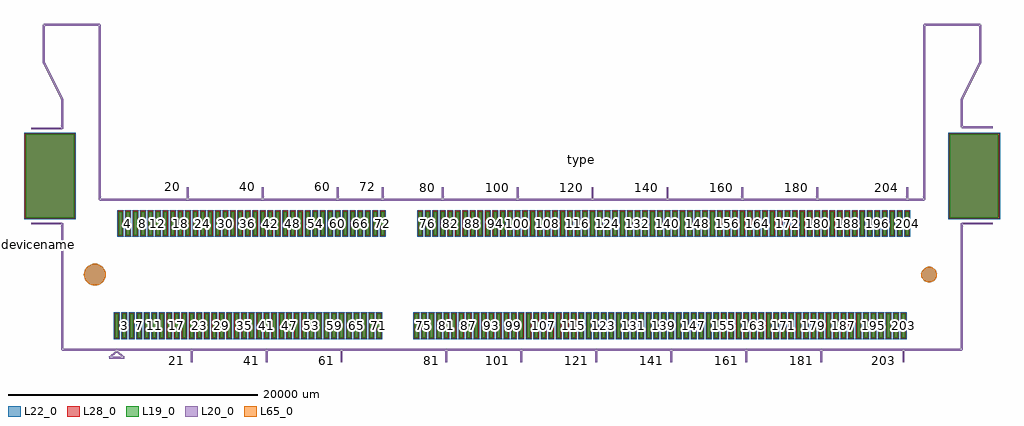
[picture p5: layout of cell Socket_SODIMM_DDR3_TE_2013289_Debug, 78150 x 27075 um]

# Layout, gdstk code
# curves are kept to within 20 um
import gdstk
lib = gdstk.Library(unit=1e-6, precision=1e-09)
def R(c, l, rs):  # rectangles x0, y0, x1, y1
    for r in rs: c.add(gdstk.rectangle(r[:2], r[2:], *l))
def A(c, l, x, y, w, h, nx, ny, dx, dy):  # array of equal rectangles
    R(c, l, [(x+i*dx, y+j*dy, x+i*dx+w, y+j*dy+h) for i in range(nx) for j in range(ny)])
def P(c, l, *ps):  # polygons
    for p in ps: c.add(gdstk.Polygon(p, *l))
L19_0 = (19, 0)
L20_0 = (20, 0)
L22_0 = (22, 0)
L28_0 = (28, 0)
L65_0 = (65, 0)

socket_sodimm_ddr3_te_20 = lib.new_cell('Socket_SODIMM_DDR3_TE_2013289_Debug')
A(socket_sodimm_ddr3_te_20, L19_0, -31775, -5050, 250, 1900, 36, 1, 600, 0)
A(socket_sodimm_ddr3_te_20, L19_0, -7775, -5050, 250, 1900, 66, 1, 600, 0)
A(socket_sodimm_ddr3_te_20, L19_0, -31475, 3150, 250, 1900, 36, 1, 600, 0)
A(socket_sodimm_ddr3_te_20, L19_0, -7475, 3150, 250, 1900, 66, 1, 600, 0)
R(socket_sodimm_ddr3_te_20, L19_0, [(-38950,4550,-35050,11250), (35050,4550,38950,11250)])
A(socket_sodimm_ddr3_te_20, L22_0, -31900, -5175, 500, 2150, 36, 1, 600, 0)
A(socket_sodimm_ddr3_te_20, L22_0, -7900, -5175, 500, 2150, 66, 1, 600, 0)
A(socket_sodimm_ddr3_te_20, L22_0, -31600, 3025, 500, 2150, 36, 1, 600, 0)
A(socket_sodimm_ddr3_te_20, L22_0, -7600, 3025, 500, 2150, 66, 1, 600, 0)
R(socket_sodimm_ddr3_te_20, L22_0, [(-39075,4425,-34925,11375), (34925,4425,39075,11375)])
P(socket_sodimm_ddr3_te_20, L22_0, [(34025,0),(33977.425,239.177),(33841.942,441.942),(33639.177,577.425),(33400,625),(33160.823,577.425),(32958.058,441.942),(32822.575,239.177),(32775,0),(32822.575,-239.177),(32958.058,-441.942),(33160.823,-577.425),(33400,-625),(33639.177,-577.425),(33841.942,-441.942),(33977.425,-239.177)],
  [(-32525,0),(-32591.605,334.848),(-32781.282,618.718),(-33065.152,808.395),(-33400,875),(-33734.848,808.395),(-34018.718,618.718),(-34208.395,334.848),(-34275,0),(-34208.395,-334.848),(-34018.718,-618.718),(-33734.848,-808.395),(-33400,-875),(-33065.152,-808.395),(-32781.282,-618.718),(-32591.605,-334.848)])
A(socket_sodimm_ddr3_te_20, L28_0, -31825, -5100, 350, 2000, 36, 1, 600, 0)
A(socket_sodimm_ddr3_te_20, L28_0, -7825, -5100, 350, 2000, 66, 1, 600, 0)
A(socket_sodimm_ddr3_te_20, L28_0, -31525, 3100, 350, 2000, 36, 1, 600, 0)
A(socket_sodimm_ddr3_te_20, L28_0, -7525, 3100, 350, 2000, 66, 1, 600, 0)
R(socket_sodimm_ddr3_te_20, L28_0, [(-39000,4500,-35000,11300), (35000,4500,39000,11300)])
P(socket_sodimm_ddr3_te_20, L65_0, [(34025,0),(33977.425,239.177),(33841.942,441.942),(33639.177,577.425),(33400,625),(33160.823,577.425),(32958.058,441.942),(32822.575,239.177),(32775,0),(32822.575,-239.177),(32958.058,-441.942),(33160.823,-577.425),(33400,-625),(33639.177,-577.425),(33841.942,-441.942),(33977.425,-239.177)],
  [(-32525,0),(-32591.605,334.848),(-32781.282,618.718),(-33065.152,808.395),(-33400,875),(-33734.848,808.395),(-34018.718,618.718),(-34208.395,334.848),(-34275,0),(-34208.395,-334.848),(-34018.718,-618.718),(-33734.848,-808.395),(-33400,-875),(-33065.152,-808.395),(-32781.282,-618.718),(-32591.605,-334.848)])
socket_sodimm_ddr3_te_20.add(gdstk.FlexPath([(-33000,20000),(-37500,20000)], 149.998, ends="flush", simple_path=True, layer=20, datatype=0))  # L20_0
socket_sodimm_ddr3_te_20.add(gdstk.FlexPath([(-33000,6000),(-33000,20000)], 149.998, ends="flush", simple_path=True, layer=20, datatype=0))  # L20_0
socket_sodimm_ddr3_te_20.add(gdstk.FlexPath([(0,6000),(-33000,6000)], 149.998, ends="flush", simple_path=True, layer=20, datatype=0))  # L20_0
socket_sodimm_ddr3_te_20.add(gdstk.FlexPath([(33000,6000),(0,6000)], 149.998, ends="flush", simple_path=True, layer=20, datatype=0))  # L20_0
socket_sodimm_ddr3_te_20.add(gdstk.FlexPath([(33000,20000),(33000,6000)], 149.998, ends="flush", simple_path=True, layer=20, datatype=0))  # L20_0
socket_sodimm_ddr3_te_20.add(gdstk.FlexPath([(37500,20000),(33000,20000)], 149.998, ends="flush", simple_path=True, layer=20, datatype=0))  # L20_0
socket_sodimm_ddr3_te_20.add(gdstk.FlexPath([(37500,17000),(37500,20000)], 149.998, ends="flush", simple_path=True, layer=20, datatype=0))  # L20_0
socket_sodimm_ddr3_te_20.add(gdstk.FlexPath([(36000,14000),(37500,17000)], 149.998, ends="flush", simple_path=True, layer=20, datatype=0))  # L20_0
socket_sodimm_ddr3_te_20.add(gdstk.FlexPath([(-36000,-6000),(36000,-6000)], 149.998, ends="flush", simple_path=True, layer=20, datatype=0))  # L20_0
socket_sodimm_ddr3_te_20.add(gdstk.FlexPath([(-37500,17000),(-36000,14000)], 149.998, ends="flush", simple_path=True, layer=20, datatype=0))  # L20_0
socket_sodimm_ddr3_te_20.add(gdstk.FlexPath([(-37500,20000),(-37500,17000)], 149.998, ends="flush", simple_path=True, layer=20, datatype=0))  # L20_0
socket_sodimm_ddr3_te_20.add(gdstk.FlexPath([(-32250,-6650),(-31650,-6150)], 149.998, ends="flush", simple_path=True, layer=20, datatype=0))  # L20_0
socket_sodimm_ddr3_te_20.add(gdstk.FlexPath([(-31050,-6650),(-32250,-6650)], 149.998, ends="flush", simple_path=True, layer=20, datatype=0))  # L20_0
socket_sodimm_ddr3_te_20.add(gdstk.FlexPath([(-31650,-6150),(-31050,-6650)], 149.998, ends="flush", simple_path=True, layer=20, datatype=0))  # L20_0
socket_sodimm_ddr3_te_20.add(gdstk.FlexPath([(-25950,6000),(-25950,7000)], 149.998, ends="flush", simple_path=True, layer=20, datatype=0))  # L20_0
socket_sodimm_ddr3_te_20.add(gdstk.FlexPath([(-36000,4100),(-38500,4100)], 149.998, ends="flush", simple_path=True, layer=20, datatype=0))  # L20_0
socket_sodimm_ddr3_te_20.add(gdstk.FlexPath([(-36000,11700),(-38500,11700)], 149.998, ends="flush", simple_path=True, layer=20, datatype=0))  # L20_0
socket_sodimm_ddr3_te_20.add(gdstk.FlexPath([(-36000,14000),(-36000,11700)], 149.998, ends="flush", simple_path=True, layer=20, datatype=0))  # L20_0
socket_sodimm_ddr3_te_20.add(gdstk.FlexPath([(-36000,4100),(-36000,-6000)], 149.998, ends="flush", simple_path=True, layer=20, datatype=0))  # L20_0
socket_sodimm_ddr3_te_20.add(gdstk.FlexPath([(36000,4100),(38500,4100)], 149.998, ends="flush", simple_path=True, layer=20, datatype=0))  # L20_0
socket_sodimm_ddr3_te_20.add(gdstk.FlexPath([(36000,11800),(38500,11800)], 149.998, ends="flush", simple_path=True, layer=20, datatype=0))  # L20_0
socket_sodimm_ddr3_te_20.add(gdstk.FlexPath([(36000,14000),(36000,11800)], 149.998, ends="flush", simple_path=True, layer=20, datatype=0))  # L20_0
socket_sodimm_ddr3_te_20.add(gdstk.FlexPath([(36000,-6000),(36000,4100)], 149.998, ends="flush", simple_path=True, layer=20, datatype=0))  # L20_0
socket_sodimm_ddr3_te_20.add(gdstk.FlexPath([(-19950,6000),(-19950,7000)], 149.998, ends="flush", simple_path=True, layer=20, datatype=0))  # L20_0
socket_sodimm_ddr3_te_20.add(gdstk.FlexPath([(-5550,6000),(-5550,7000)], 149.998, ends="flush", simple_path=True, layer=20, datatype=0))  # L20_0
socket_sodimm_ddr3_te_20.add(gdstk.FlexPath([(-10350,6000),(-10350,7000)], 149.998, ends="flush", simple_path=True, layer=20, datatype=0))  # L20_0
socket_sodimm_ddr3_te_20.add(gdstk.FlexPath([(-13950,6000),(-13950,7000)], 149.998, ends="flush", simple_path=True, layer=20, datatype=0))  # L20_0
socket_sodimm_ddr3_te_20.add(gdstk.FlexPath([(450,6000),(450,7000)], 149.998, ends="flush", simple_path=True, layer=20, datatype=0))  # L20_0
socket_sodimm_ddr3_te_20.add(gdstk.FlexPath([(6450,6000),(6450,7000)], 149.998, ends="flush", simple_path=True, layer=20, datatype=0))  # L20_0
socket_sodimm_ddr3_te_20.add(gdstk.FlexPath([(12450,6000),(12450,7000)], 149.998, ends="flush", simple_path=True, layer=20, datatype=0))  # L20_0
socket_sodimm_ddr3_te_20.add(gdstk.FlexPath([(18450,6000),(18450,7000)], 149.998, ends="flush", simple_path=True, layer=20, datatype=0))  # L20_0
socket_sodimm_ddr3_te_20.add(gdstk.FlexPath([(24450,6000),(24450,7000)], 149.998, ends="flush", simple_path=True, layer=20, datatype=0))  # L20_0
socket_sodimm_ddr3_te_20.add(gdstk.FlexPath([(31650,6000),(31650,7000)], 149.998, ends="flush", simple_path=True, layer=20, datatype=0))  # L20_0
socket_sodimm_ddr3_te_20.add(gdstk.FlexPath([(31350,-7000),(31350,-6000)], 149.998, ends="flush", simple_path=True, layer=20, datatype=0))  # L20_0
socket_sodimm_ddr3_te_20.add(gdstk.FlexPath([(24750,-7000),(24750,-6000)], 149.998, ends="flush", simple_path=True, layer=20, datatype=0))  # L20_0
socket_sodimm_ddr3_te_20.add(gdstk.FlexPath([(18750,-7000),(18750,-6000)], 149.998, ends="flush", simple_path=True, layer=20, datatype=0))  # L20_0
socket_sodimm_ddr3_te_20.add(gdstk.FlexPath([(12750,-7000),(12750,-6000)], 149.998, ends="flush", simple_path=True, layer=20, datatype=0))  # L20_0
socket_sodimm_ddr3_te_20.add(gdstk.FlexPath([(6750,-7000),(6750,-6000)], 149.998, ends="flush", simple_path=True, layer=20, datatype=0))  # L20_0
socket_sodimm_ddr3_te_20.add(gdstk.FlexPath([(750,-7000),(750,-6000)], 149.998, ends="flush", simple_path=True, layer=20, datatype=0))  # L20_0
socket_sodimm_ddr3_te_20.add(gdstk.FlexPath([(-5250,-7000),(-5250,-6000)], 149.998, ends="flush", simple_path=True, layer=20, datatype=0))  # L20_0
socket_sodimm_ddr3_te_20.add(gdstk.FlexPath([(-13650,-7000),(-13650,-6000)], 149.998, ends="flush", simple_path=True, layer=20, datatype=0))  # L20_0
socket_sodimm_ddr3_te_20.add(gdstk.FlexPath([(-19650,-7000),(-19650,-6000)], 149.998, ends="flush", simple_path=True, layer=20, datatype=0))  # L20_0
socket_sodimm_ddr3_te_20.add(gdstk.FlexPath([(-25650,-7000),(-25650,-6000)], 149.998, ends="flush", simple_path=True, layer=20, datatype=0))  # L20_0
socket_sodimm_ddr3_te_20.add(gdstk.Label('204', (31650,4100), layer=28, texttype=0))
socket_sodimm_ddr3_te_20.add(gdstk.Label('202', (31050,4100), layer=28, texttype=0))
socket_sodimm_ddr3_te_20.add(gdstk.Label('200', (30450,4100), layer=28, texttype=0))
socket_sodimm_ddr3_te_20.add(gdstk.Label('198', (29850,4100), layer=28, texttype=0))
socket_sodimm_ddr3_te_20.add(gdstk.Label('196', (29250,4100), layer=28, texttype=0))
socket_sodimm_ddr3_te_20.add(gdstk.Label('194', (28650,4100), layer=28, texttype=0))
socket_sodimm_ddr3_te_20.add(gdstk.Label('192', (28050,4100), layer=28, texttype=0))
socket_sodimm_ddr3_te_20.add(gdstk.Label('190', (27450,4100), layer=28, texttype=0))
socket_sodimm_ddr3_te_20.add(gdstk.Label('188', (26850,4100), layer=28, texttype=0))
socket_sodimm_ddr3_te_20.add(gdstk.Label('186', (26250,4100), layer=28, texttype=0))
socket_sodimm_ddr3_te_20.add(gdstk.Label('184', (25650,4100), layer=28, texttype=0))
socket_sodimm_ddr3_te_20.add(gdstk.Label('182', (25050,4100), layer=28, texttype=0))
socket_sodimm_ddr3_te_20.add(gdstk.Label('180', (24450,4100), layer=28, texttype=0))
socket_sodimm_ddr3_te_20.add(gdstk.Label('178', (23850,4100), layer=28, texttype=0))
socket_sodimm_ddr3_te_20.add(gdstk.Label('176', (23250,4100), layer=28, texttype=0))
socket_sodimm_ddr3_te_20.add(gdstk.Label('174', (22650,4100), layer=28, texttype=0))
socket_sodimm_ddr3_te_20.add(gdstk.Label('172', (22050,4100), layer=28, texttype=0))
socket_sodimm_ddr3_te_20.add(gdstk.Label('170', (21450,4100), layer=28, texttype=0))
socket_sodimm_ddr3_te_20.add(gdstk.Label('168', (20850,4100), layer=28, texttype=0))
socket_sodimm_ddr3_te_20.add(gdstk.Label('166', (20250,4100), layer=28, texttype=0))
socket_sodimm_ddr3_te_20.add(gdstk.Label('164', (19650,4100), layer=28, texttype=0))
socket_sodimm_ddr3_te_20.add(gdstk.Label('162', (19050,4100), layer=28, texttype=0))
socket_sodimm_ddr3_te_20.add(gdstk.Label('160', (18450,4100), layer=28, texttype=0))
socket_sodimm_ddr3_te_20.add(gdstk.Label('158', (17850,4100), layer=28, texttype=0))
socket_sodimm_ddr3_te_20.add(gdstk.Label('156', (17250,4100), layer=28, texttype=0))
socket_sodimm_ddr3_te_20.add(gdstk.Label('154', (16650,4100), layer=28, texttype=0))
socket_sodimm_ddr3_te_20.add(gdstk.Label('152', (16050,4100), layer=28, texttype=0))
socket_sodimm_ddr3_te_20.add(gdstk.Label('150', (15450,4100), layer=28, texttype=0))
socket_sodimm_ddr3_te_20.add(gdstk.Label('148', (14850,4100), layer=28, texttype=0))
socket_sodimm_ddr3_te_20.add(gdstk.Label('146', (14250,4100), layer=28, texttype=0))
socket_sodimm_ddr3_te_20.add(gdstk.Label('144', (13650,4100), layer=28, texttype=0))
socket_sodimm_ddr3_te_20.add(gdstk.Label('142', (13050,4100), layer=28, texttype=0))
socket_sodimm_ddr3_te_20.add(gdstk.Label('140', (12450,4100), layer=28, texttype=0))
socket_sodimm_ddr3_te_20.add(gdstk.Label('138', (11850,4100), layer=28, texttype=0))
socket_sodimm_ddr3_te_20.add(gdstk.Label('136', (11250,4100), layer=28, texttype=0))
socket_sodimm_ddr3_te_20.add(gdstk.Label('134', (10650,4100), layer=28, texttype=0))
socket_sodimm_ddr3_te_20.add(gdstk.Label('132', (10050,4100), layer=28, texttype=0))
socket_sodimm_ddr3_te_20.add(gdstk.Label('130', (9450,4100), layer=28, texttype=0))
socket_sodimm_ddr3_te_20.add(gdstk.Label('128', (8850,4100), layer=28, texttype=0))
socket_sodimm_ddr3_te_20.add(gdstk.Label('126', (8250,4100), layer=28, texttype=0))
socket_sodimm_ddr3_te_20.add(gdstk.Label('124', (7650,4100), layer=28, texttype=0))
socket_sodimm_ddr3_te_20.add(gdstk.Label('122', (7050,4100), layer=28, texttype=0))
socket_sodimm_ddr3_te_20.add(gdstk.Label('120', (6450,4100), layer=28, texttype=0))
socket_sodimm_ddr3_te_20.add(gdstk.Label('118', (5850,4100), layer=28, texttype=0))
socket_sodimm_ddr3_te_20.add(gdstk.Label('116', (5250,4100), layer=28, texttype=0))
socket_sodimm_ddr3_te_20.add(gdstk.Label('114', (4650,4100), layer=28, texttype=0))
socket_sodimm_ddr3_te_20.add(gdstk.Label('112', (4050,4100), layer=28, texttype=0))
socket_sodimm_ddr3_te_20.add(gdstk.Label('110', (3450,4100), layer=28, texttype=0))
socket_sodimm_ddr3_te_20.add(gdstk.Label('108', (2850,4100), layer=28, texttype=0))
socket_sodimm_ddr3_te_20.add(gdstk.Label('106', (2250,4100), layer=28, texttype=0))
socket_sodimm_ddr3_te_20.add(gdstk.Label('104', (1650,4100), layer=28, texttype=0))
socket_sodimm_ddr3_te_20.add(gdstk.Label('102', (1050,4100), layer=28, texttype=0))
socket_sodimm_ddr3_te_20.add(gdstk.Label('100', (450,4100), layer=28, texttype=0))
socket_sodimm_ddr3_te_20.add(gdstk.Label('98', (-150,4100), layer=28, texttype=0))
socket_sodimm_ddr3_te_20.add(gdstk.Label('96', (-750,4100), layer=28, texttype=0))
socket_sodimm_ddr3_te_20.add(gdstk.Label('94', (-1350,4100), layer=28, texttype=0))
socket_sodimm_ddr3_te_20.add(gdstk.Label('92', (-1950,4100), layer=28, texttype=0))
socket_sodimm_ddr3_te_20.add(gdstk.Label('90', (-2550,4100), layer=28, texttype=0))
socket_sodimm_ddr3_te_20.add(gdstk.Label('88', (-3150,4100), layer=28, texttype=0))
socket_sodimm_ddr3_te_20.add(gdstk.Label('86', (-3750,4100), layer=28, texttype=0))
socket_sodimm_ddr3_te_20.add(gdstk.Label('84', (-4350,4100), layer=28, texttype=0))
socket_sodimm_ddr3_te_20.add(gdstk.Label('82', (-4950,4100), layer=28, texttype=0))
socket_sodimm_ddr3_te_20.add(gdstk.Label('80', (-5550,4100), layer=28, texttype=0))
socket_sodimm_ddr3_te_20.add(gdstk.Label('78', (-6150,4100), layer=28, texttype=0))
socket_sodimm_ddr3_te_20.add(gdstk.Label('76', (-6750,4100), layer=28, texttype=0))
socket_sodimm_ddr3_te_20.add(gdstk.Label('74', (-7350,4100), layer=28, texttype=0))
socket_sodimm_ddr3_te_20.add(gdstk.Label('72', (-10350,4100), layer=28, texttype=0))
socket_sodimm_ddr3_te_20.add(gdstk.Label('70', (-10950,4100), layer=28, texttype=0))
socket_sodimm_ddr3_te_20.add(gdstk.Label('68', (-11550,4100), layer=28, texttype=0))
socket_sodimm_ddr3_te_20.add(gdstk.Label('66', (-12150,4100), layer=28, texttype=0))
socket_sodimm_ddr3_te_20.add(gdstk.Label('64', (-12750,4100), layer=28, texttype=0))
socket_sodimm_ddr3_te_20.add(gdstk.Label('62', (-13350,4100), layer=28, texttype=0))
socket_sodimm_ddr3_te_20.add(gdstk.Label('60', (-13950,4100), layer=28, texttype=0))
socket_sodimm_ddr3_te_20.add(gdstk.Label('58', (-14550,4100), layer=28, texttype=0))
socket_sodimm_ddr3_te_20.add(gdstk.Label('56', (-15150,4100), layer=28, texttype=0))
socket_sodimm_ddr3_te_20.add(gdstk.Label('54', (-15750,4100), layer=28, texttype=0))
socket_sodimm_ddr3_te_20.add(gdstk.Label('52', (-16350,4100), layer=28, texttype=0))
socket_sodimm_ddr3_te_20.add(gdstk.Label('50', (-16950,4100), layer=28, texttype=0))
socket_sodimm_ddr3_te_20.add(gdstk.Label('48', (-17550,4100), layer=28, texttype=0))
socket_sodimm_ddr3_te_20.add(gdstk.Label('46', (-18150,4100), layer=28, texttype=0))
socket_sodimm_ddr3_te_20.add(gdstk.Label('44', (-18750,4100), layer=28, texttype=0))
socket_sodimm_ddr3_te_20.add(gdstk.Label('42', (-19350,4100), layer=28, texttype=0))
socket_sodimm_ddr3_te_20.add(gdstk.Label('40', (-19950,4100), layer=28, texttype=0))
socket_sodimm_ddr3_te_20.add(gdstk.Label('38', (-20550,4100), layer=28, texttype=0))
socket_sodimm_ddr3_te_20.add(gdstk.Label('36', (-21150,4100), layer=28, texttype=0))
socket_sodimm_ddr3_te_20.add(gdstk.Label('34', (-21750,4100), layer=28, texttype=0))
socket_sodimm_ddr3_te_20.add(gdstk.Label('32', (-22350,4100), layer=28, texttype=0))
socket_sodimm_ddr3_te_20.add(gdstk.Label('30', (-22950,4100), layer=28, texttype=0))
socket_sodimm_ddr3_te_20.add(gdstk.Label('28', (-23550,4100), layer=28, texttype=0))
socket_sodimm_ddr3_te_20.add(gdstk.Label('26', (-24150,4100), layer=28, texttype=0))
socket_sodimm_ddr3_te_20.add(gdstk.Label('24', (-24750,4100), layer=28, texttype=0))
socket_sodimm_ddr3_te_20.add(gdstk.Label('22', (-25350,4100), layer=28, texttype=0))
socket_sodimm_ddr3_te_20.add(gdstk.Label('20', (-25950,4100), layer=28, texttype=0))
socket_sodimm_ddr3_te_20.add(gdstk.Label('18', (-26550,4100), layer=28, texttype=0))
socket_sodimm_ddr3_te_20.add(gdstk.Label('16', (-27150,4100), layer=28, texttype=0))
socket_sodimm_ddr3_te_20.add(gdstk.Label('14', (-27750,4100), layer=28, texttype=0))
socket_sodimm_ddr3_te_20.add(gdstk.Label('12', (-28350,4100), layer=28, texttype=0))
socket_sodimm_ddr3_te_20.add(gdstk.Label('10', (-28950,4100), layer=28, texttype=0))
socket_sodimm_ddr3_te_20.add(gdstk.Label('8', (-29550,4100), layer=28, texttype=0))
socket_sodimm_ddr3_te_20.add(gdstk.Label('6', (-30150,4100), layer=28, texttype=0))
socket_sodimm_ddr3_te_20.add(gdstk.Label('4', (-30750,4100), layer=28, texttype=0))
socket_sodimm_ddr3_te_20.add(gdstk.Label('2', (-31350,4100), layer=28, texttype=0))
socket_sodimm_ddr3_te_20.add(gdstk.Label('203', (31350,-4100), layer=28, texttype=0))
socket_sodimm_ddr3_te_20.add(gdstk.Label('201', (30750,-4100), layer=28, texttype=0))
socket_sodimm_ddr3_te_20.add(gdstk.Label('199', (30150,-4100), layer=28, texttype=0))
socket_sodimm_ddr3_te_20.add(gdstk.Label('197', (29550,-4100), layer=28, texttype=0))
socket_sodimm_ddr3_te_20.add(gdstk.Label('195', (28950,-4100), layer=28, texttype=0))
socket_sodimm_ddr3_te_20.add(gdstk.Label('193', (28350,-4100), layer=28, texttype=0))
socket_sodimm_ddr3_te_20.add(gdstk.Label('191', (27750,-4100), layer=28, texttype=0))
socket_sodimm_ddr3_te_20.add(gdstk.Label('189', (27150,-4100), layer=28, texttype=0))
socket_sodimm_ddr3_te_20.add(gdstk.Label('187', (26550,-4100), layer=28, texttype=0))
socket_sodimm_ddr3_te_20.add(gdstk.Label('185', (25950,-4100), layer=28, texttype=0))
socket_sodimm_ddr3_te_20.add(gdstk.Label('183', (25350,-4100), layer=28, texttype=0))
socket_sodimm_ddr3_te_20.add(gdstk.Label('181', (24750,-4100), layer=28, texttype=0))
socket_sodimm_ddr3_te_20.add(gdstk.Label('179', (24150,-4100), layer=28, texttype=0))
socket_sodimm_ddr3_te_20.add(gdstk.Label('177', (23550,-4100), layer=28, texttype=0))
socket_sodimm_ddr3_te_20.add(gdstk.Label('175', (22950,-4100), layer=28, texttype=0))
socket_sodimm_ddr3_te_20.add(gdstk.Label('173', (22350,-4100), layer=28, texttype=0))
socket_sodimm_ddr3_te_20.add(gdstk.Label('171', (21750,-4100), layer=28, texttype=0))
socket_sodimm_ddr3_te_20.add(gdstk.Label('169', (21150,-4100), layer=28, texttype=0))
socket_sodimm_ddr3_te_20.add(gdstk.Label('167', (20550,-4100), layer=28, texttype=0))
socket_sodimm_ddr3_te_20.add(gdstk.Label('165', (19950,-4100), layer=28, texttype=0))
socket_sodimm_ddr3_te_20.add(gdstk.Label('163', (19350,-4100), layer=28, texttype=0))
socket_sodimm_ddr3_te_20.add(gdstk.Label('161', (18750,-4100), layer=28, texttype=0))
socket_sodimm_ddr3_te_20.add(gdstk.Label('159', (18150,-4100), layer=28, texttype=0))
socket_sodimm_ddr3_te_20.add(gdstk.Label('157', (17550,-4100), layer=28, texttype=0))
socket_sodimm_ddr3_te_20.add(gdstk.Label('155', (16950,-4100), layer=28, texttype=0))
socket_sodimm_ddr3_te_20.add(gdstk.Label('153', (16350,-4100), layer=28, texttype=0))
socket_sodimm_ddr3_te_20.add(gdstk.Label('151', (15750,-4100), layer=28, texttype=0))
socket_sodimm_ddr3_te_20.add(gdstk.Label('149', (15150,-4100), layer=28, texttype=0))
socket_sodimm_ddr3_te_20.add(gdstk.Label('147', (14550,-4100), layer=28, texttype=0))
socket_sodimm_ddr3_te_20.add(gdstk.Label('145', (13950,-4100), layer=28, texttype=0))
socket_sodimm_ddr3_te_20.add(gdstk.Label('143', (13350,-4100), layer=28, texttype=0))
socket_sodimm_ddr3_te_20.add(gdstk.Label('141', (12750,-4100), layer=28, texttype=0))
socket_sodimm_ddr3_te_20.add(gdstk.Label('139', (12150,-4100), layer=28, texttype=0))
socket_sodimm_ddr3_te_20.add(gdstk.Label('137', (11550,-4100), layer=28, texttype=0))
socket_sodimm_ddr3_te_20.add(gdstk.Label('135', (10950,-4100), layer=28, texttype=0))
socket_sodimm_ddr3_te_20.add(gdstk.Label('133', (10350,-4100), layer=28, texttype=0))
socket_sodimm_ddr3_te_20.add(gdstk.Label('131', (9750,-4100), layer=28, texttype=0))
socket_sodimm_ddr3_te_20.add(gdstk.Label('129', (9150,-4100), layer=28, texttype=0))
socket_sodimm_ddr3_te_20.add(gdstk.Label('127', (8550,-4100), layer=28, texttype=0))
socket_sodimm_ddr3_te_20.add(gdstk.Label('125', (7950,-4100), layer=28, texttype=0))
socket_sodimm_ddr3_te_20.add(gdstk.Label('123', (7350,-4100), layer=28, texttype=0))
socket_sodimm_ddr3_te_20.add(gdstk.Label('121', (6750,-4100), layer=28, texttype=0))
socket_sodimm_ddr3_te_20.add(gdstk.Label('119', (6150,-4100), layer=28, texttype=0))
socket_sodimm_ddr3_te_20.add(gdstk.Label('117', (5550,-4100), layer=28, texttype=0))
socket_sodimm_ddr3_te_20.add(gdstk.Label('115', (4950,-4100), layer=28, texttype=0))
socket_sodimm_ddr3_te_20.add(gdstk.Label('113', (4350,-4100), layer=28, texttype=0))
socket_sodimm_ddr3_te_20.add(gdstk.Label('111', (3750,-4100), layer=28, texttype=0))
socket_sodimm_ddr3_te_20.add(gdstk.Label('109', (3150,-4100), layer=28, texttype=0))
socket_sodimm_ddr3_te_20.add(gdstk.Label('107', (2550,-4100), layer=28, texttype=0))
socket_sodimm_ddr3_te_20.add(gdstk.Label('105', (1950,-4100), layer=28, texttype=0))
socket_sodimm_ddr3_te_20.add(gdstk.Label('103', (1350,-4100), layer=28, texttype=0))
socket_sodimm_ddr3_te_20.add(gdstk.Label('101', (750,-4100), layer=28, texttype=0))
socket_sodimm_ddr3_te_20.add(gdstk.Label('99', (150,-4100), layer=28, texttype=0))
socket_sodimm_ddr3_te_20.add(gdstk.Label('97', (-450,-4100), layer=28, texttype=0))
socket_sodimm_ddr3_te_20.add(gdstk.Label('95', (-1050,-4100), layer=28, texttype=0))
socket_sodimm_ddr3_te_20.add(gdstk.Label('93', (-1650,-4100), layer=28, texttype=0))
socket_sodimm_ddr3_te_20.add(gdstk.Label('91', (-2250,-4100), layer=28, texttype=0))
socket_sodimm_ddr3_te_20.add(gdstk.Label('89', (-2850,-4100), layer=28, texttype=0))
socket_sodimm_ddr3_te_20.add(gdstk.Label('87', (-3450,-4100), layer=28, texttype=0))
socket_sodimm_ddr3_te_20.add(gdstk.Label('85', (-4050,-4100), layer=28, texttype=0))
socket_sodimm_ddr3_te_20.add(gdstk.Label('83', (-4650,-4100), layer=28, texttype=0))
socket_sodimm_ddr3_te_20.add(gdstk.Label('81', (-5250,-4100), layer=28, texttype=0))
socket_sodimm_ddr3_te_20.add(gdstk.Label('79', (-5850,-4100), layer=28, texttype=0))
socket_sodimm_ddr3_te_20.add(gdstk.Label('77', (-6450,-4100), layer=28, texttype=0))
socket_sodimm_ddr3_te_20.add(gdstk.Label('75', (-7050,-4100), layer=28, texttype=0))
socket_sodimm_ddr3_te_20.add(gdstk.Label('73', (-7650,-4100), layer=28, texttype=0))
socket_sodimm_ddr3_te_20.add(gdstk.Label('71', (-10650,-4100), layer=28, texttype=0))
socket_sodimm_ddr3_te_20.add(gdstk.Label('69', (-11250,-4100), layer=28, texttype=0))
socket_sodimm_ddr3_te_20.add(gdstk.Label('67', (-11850,-4100), layer=28, texttype=0))
socket_sodimm_ddr3_te_20.add(gdstk.Label('65', (-12450,-4100), layer=28, texttype=0))
socket_sodimm_ddr3_te_20.add(gdstk.Label('63', (-13050,-4100), layer=28, texttype=0))
socket_sodimm_ddr3_te_20.add(gdstk.Label('61', (-13650,-4100), layer=28, texttype=0))
socket_sodimm_ddr3_te_20.add(gdstk.Label('59', (-14250,-4100), layer=28, texttype=0))
socket_sodimm_ddr3_te_20.add(gdstk.Label('57', (-14850,-4100), layer=28, texttype=0))
socket_sodimm_ddr3_te_20.add(gdstk.Label('55', (-15450,-4100), layer=28, texttype=0))
socket_sodimm_ddr3_te_20.add(gdstk.Label('53', (-16050,-4100), layer=28, texttype=0))
socket_sodimm_ddr3_te_20.add(gdstk.Label('51', (-16650,-4100), layer=28, texttype=0))
socket_sodimm_ddr3_te_20.add(gdstk.Label('49', (-17250,-4100), layer=28, texttype=0))
socket_sodimm_ddr3_te_20.add(gdstk.Label('47', (-17850,-4100), layer=28, texttype=0))
socket_sodimm_ddr3_te_20.add(gdstk.Label('45', (-18450,-4100), layer=28, texttype=0))
socket_sodimm_ddr3_te_20.add(gdstk.Label('43', (-19050,-4100), layer=28, texttype=0))
socket_sodimm_ddr3_te_20.add(gdstk.Label('41', (-19650,-4100), layer=28, texttype=0))
socket_sodimm_ddr3_te_20.add(gdstk.Label('39', (-20250,-4100), layer=28, texttype=0))
socket_sodimm_ddr3_te_20.add(gdstk.Label('37', (-20850,-4100), layer=28, texttype=0))
socket_sodimm_ddr3_te_20.add(gdstk.Label('35', (-21450,-4100), layer=28, texttype=0))
socket_sodimm_ddr3_te_20.add(gdstk.Label('33', (-22050,-4100), layer=28, texttype=0))
socket_sodimm_ddr3_te_20.add(gdstk.Label('31', (-22650,-4100), layer=28, texttype=0))
socket_sodimm_ddr3_te_20.add(gdstk.Label('29', (-23250,-4100), layer=28, texttype=0))
socket_sodimm_ddr3_te_20.add(gdstk.Label('27', (-23850,-4100), layer=28, texttype=0))
socket_sodimm_ddr3_te_20.add(gdstk.Label('25', (-24450,-4100), layer=28, texttype=0))
socket_sodimm_ddr3_te_20.add(gdstk.Label('23', (-25050,-4100), layer=28, texttype=0))
socket_sodimm_ddr3_te_20.add(gdstk.Label('21', (-25650,-4100), layer=28, texttype=0))
socket_sodimm_ddr3_te_20.add(gdstk.Label('19', (-26250,-4100), layer=28, texttype=0))
socket_sodimm_ddr3_te_20.add(gdstk.Label('17', (-26850,-4100), layer=28, texttype=0))
socket_sodimm_ddr3_te_20.add(gdstk.Label('15', (-27450,-4100), layer=28, texttype=0))
socket_sodimm_ddr3_te_20.add(gdstk.Label('13', (-28050,-4100), layer=28, texttype=0))
socket_sodimm_ddr3_te_20.add(gdstk.Label('11', (-28650,-4100), layer=28, texttype=0))
socket_sodimm_ddr3_te_20.add(gdstk.Label('9', (-29250,-4100), layer=28, texttype=0))
socket_sodimm_ddr3_te_20.add(gdstk.Label('7', (-29850,-4100), layer=28, texttype=0))
socket_sodimm_ddr3_te_20.add(gdstk.Label('5', (-30450,-4100), layer=28, texttype=0))
socket_sodimm_ddr3_te_20.add(gdstk.Label('3', (-31050,-4100), layer=28, texttype=0))
socket_sodimm_ddr3_te_20.add(gdstk.Label('1', (-31650,-4100), layer=28, texttype=0))
socket_sodimm_ddr3_te_20.add(gdstk.Label('20', (-27150,7050), layer=9, texttype=0))
socket_sodimm_ddr3_te_20.add(gdstk.Label('40', (-21150,7050), layer=9, texttype=0))
socket_sodimm_ddr3_te_20.add(gdstk.Label('60', (-15150,7050), layer=9, texttype=0))
socket_sodimm_ddr3_te_20.add(gdstk.Label('72', (-11550,7050), layer=9, texttype=0))
socket_sodimm_ddr3_te_20.add(gdstk.Label('80', (-6800,7000), layer=9, texttype=0))
socket_sodimm_ddr3_te_20.add(gdstk.Label('100', (-1200,7000), layer=9, texttype=0))
socket_sodimm_ddr3_te_20.add(gdstk.Label('120', (4800,7000), layer=9, texttype=0))
socket_sodimm_ddr3_te_20.add(gdstk.Label('140', (10800,7000), layer=9, texttype=0))
socket_sodimm_ddr3_te_20.add(gdstk.Label('160', (16800,7000), layer=9, texttype=0))
socket_sodimm_ddr3_te_20.add(gdstk.Label('180', (22800,7000), layer=9, texttype=0))
socket_sodimm_ddr3_te_20.add(gdstk.Label('204', (30000,7000), layer=9, texttype=0))
socket_sodimm_ddr3_te_20.add(gdstk.Label('203', (29750,-6900), layer=9, texttype=0))
socket_sodimm_ddr3_te_20.add(gdstk.Label('181', (23150,-6900), layer=9, texttype=0))
socket_sodimm_ddr3_te_20.add(gdstk.Label('161', (17150,-6900), layer=9, texttype=0))
socket_sodimm_ddr3_te_20.add(gdstk.Label('141', (11150,-6900), layer=9, texttype=0))
socket_sodimm_ddr3_te_20.add(gdstk.Label('121', (5150,-6900), layer=9, texttype=0))
socket_sodimm_ddr3_te_20.add(gdstk.Label('101', (-1150,-6900), layer=9, texttype=0))
socket_sodimm_ddr3_te_20.add(gdstk.Label('81', (-6450,-6900), layer=9, texttype=0))
socket_sodimm_ddr3_te_20.add(gdstk.Label('61', (-14850,-6900), layer=9, texttype=0))
socket_sodimm_ddr3_te_20.add(gdstk.Label('41', (-20850,-6900), layer=9, texttype=0))
socket_sodimm_ddr3_te_20.add(gdstk.Label('21', (-26850,-6900), layer=9, texttype=0))
socket_sodimm_ddr3_te_20.add(gdstk.Label('type', (5600,9200), layer=9, texttype=0))
socket_sodimm_ddr3_te_20.add(gdstk.Label('devicename', (-38200,2400), layer=9, texttype=0))

lib.write_gds('Socket_SODIMM_DDR3_TE_2013289_Debug.gds')
